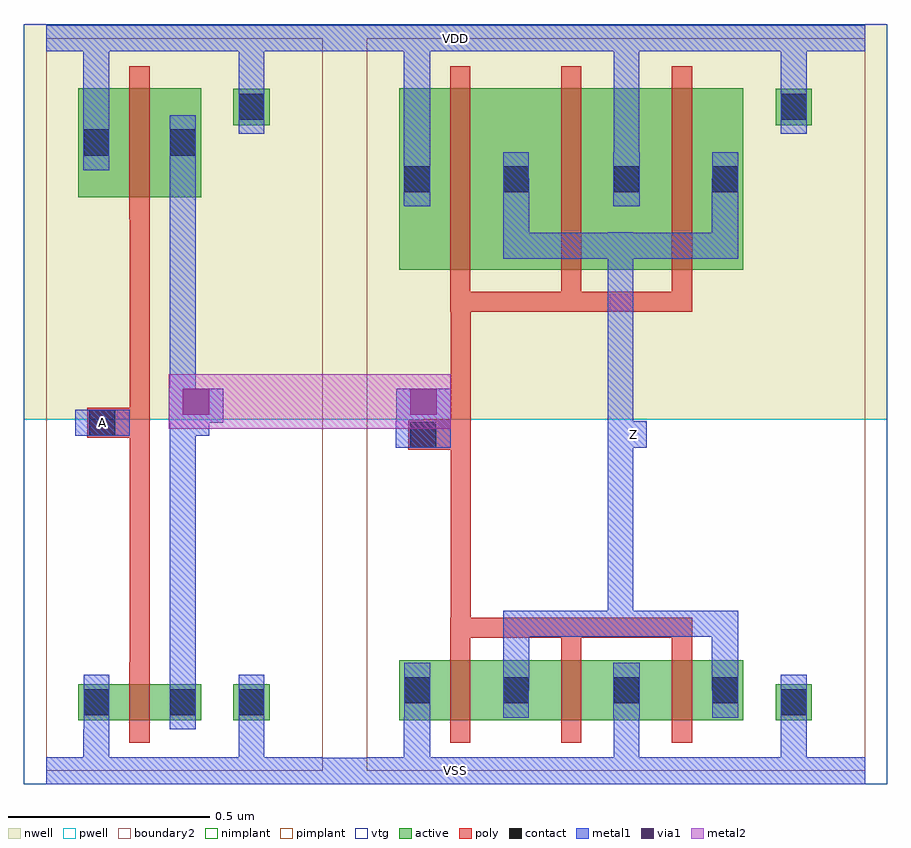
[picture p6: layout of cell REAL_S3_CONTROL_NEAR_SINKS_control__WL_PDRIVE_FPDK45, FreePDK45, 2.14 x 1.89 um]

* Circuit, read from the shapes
.subckt REAL_S3_CONTROL_NEAR_SINKS_control__WL_PDRIVE_FPDK45 A VDD VSS Z
M1 n1 A VSS VSS nfet w=0.09u l=0.05u
M2 Z n1 VSS VSS nfet w=0.15u l=0.05u
M3 VSS n1 Z VSS nfet w=0.15u l=0.049u
M4 Z n1 VSS VSS nfet w=0.15u l=0.051u
M5 n1 A VDD VDD pfet w=0.27u l=0.05u
M6 Z n1 VDD VDD pfet w=0.45u l=0.05u
M7 VDD n1 Z VDD pfet w=0.45u l=0.049u
M8 Z n1 VDD VDD pfet w=0.45u l=0.051u
.ends

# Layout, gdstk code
import gdstk
lib = gdstk.Library(unit=1e-6, precision=1e-09)
def R(c, l, rs):  # rectangles x0, y0, x1, y1
    for r in rs: c.add(gdstk.rectangle(r[:2], r[2:], *l))
active = (1, 0)
pwell = (2, 0)
nwell = (3, 0)
nimplant = (4, 0)
pimplant = (5, 0)
vtg = (6, 0)
poly = (9, 0)
contact = (10, 0)
metal1 = (11, 0)
via1 = (12, 0)
metal2 = (13, 0)
boundary2 = (239, 0)

real_s3_control_near_sin = lib.new_cell('REAL_S3_CONTROL_NEAR_SINKS_control__TEAMB_CLONE__inv1__PINV_NW90_PW270_L50__TRANSMISSION_GATE_NW250_PW500_L50_contact_8')
R(real_s3_control_near_sin, active, [(0,0.022,0.09,0.112), (0,0.022,0.09,0.112), (0,0.022,0.09,0.112)])
R(real_s3_control_near_sin, nwell, [(-0.055,-0.033,0.145,0.168), (-0.055,-0.033,0.145,0.168), (-0.055,-0.033,0.145,0.168)])
R(real_s3_control_near_sin, pimplant, [(0,0.022,0.09,0.112), (0,0.022,0.09,0.112), (0,0.022,0.09,0.112)])
R(real_s3_control_near_sin, contact, [(0.013,0.035,0.077,0.1), (0.013,0.035,0.077,0.1), (0.013,0.035,0.077,0.1)])
R(real_s3_control_near_sin, metal1, [(0.013,0,0.077,0.135), (0.013,0,0.077,0.135), (0.013,0,0.077,0.135)])
R(real_s3_control_near_sin, boundary2, [(-0.055,-0.033,0.145,0.168), (-0.055,-0.033,0.145,0.168), (-0.055,-0.033,0.145,0.168)])

c_real_s3_control_near_sin = lib.new_cell('REAL_S3_CONTROL_NEAR_SINKS_control__TEAMB_CLONE__inv1__PINV_NW90_PW270_L50__PINV_NW180_PW270_L50_pmos_m1_w0_270_sm1_dm1_da_p')
R(c_real_s3_control_near_sin, active, [(0,0,0.305,0.27), (0,0,0.305,0.27), (0,0,0.305,0.27)])
R(c_real_s3_control_near_sin, nwell, [(-0.08,-0.08,0.385,0.35), (-0.08,-0.08,0.385,0.35), (-0.08,-0.08,0.385,0.35)])
R(c_real_s3_control_near_sin, pimplant, [(0,0,0.305,0.27), (0,0,0.305,0.27), (0,0,0.305,0.27)])
R(c_real_s3_control_near_sin, vtg, [(-0.08,-0.08,0.385,0.35), (-0.08,-0.08,0.385,0.35), (-0.08,-0.08,0.385,0.35)])
R(c_real_s3_control_near_sin, poly, [(0.127,-0.055,0.177,0.325), (0.127,-0.055,0.177,0.325), (0.127,-0.055,0.177,0.325), (0.127,-0.055,0.177,0.325), (0.127,-0.055,0.177,0.325), (0.127,-0.055,0.177,0.325)])
R(c_real_s3_control_near_sin, metal1, [(0.013,0.068,0.077,0.203), (0.013,0.068,0.077,0.203), (0.013,0.068,0.077,0.203), (0.227,0.068,0.292,0.203), (0.227,0.068,0.292,0.203), (0.227,0.068,0.292,0.203)])
R(c_real_s3_control_near_sin, boundary2, [(-0.08,-0.08,0.385,0.35), (-0.08,-0.08,0.385,0.35), (-0.08,-0.08,0.385,0.35)])
c_real_s3_control_near_sin.add(gdstk.Reference(real_s3_control_near_sin, (0,0.068)))
c_real_s3_control_near_sin.add(gdstk.Reference(real_s3_control_near_sin, (0.215,0.068)))

c_real_s3_control_near_sin_ = lib.new_cell('REAL_S3_CONTROL_NEAR_SINKS_control__TEAMB_CLONE__inv1__PINV_NW90_PW270_L50__TRANSMISSION_GATE_NW250_PW500_L50_contact_7')
R(c_real_s3_control_near_sin_, active, [(0,0.022,0.09,0.112), (0,0.022,0.09,0.112), (0,0.022,0.09,0.112)])
R(c_real_s3_control_near_sin_, pwell, [(-0.055,-0.033,0.145,0.168), (-0.055,-0.033,0.145,0.168), (-0.055,-0.033,0.145,0.168)])
R(c_real_s3_control_near_sin_, nimplant, [(0,0.022,0.09,0.112), (0,0.022,0.09,0.112), (0,0.022,0.09,0.112)])
R(c_real_s3_control_near_sin_, contact, [(0.013,0.035,0.077,0.1), (0.013,0.035,0.077,0.1), (0.013,0.035,0.077,0.1)])
R(c_real_s3_control_near_sin_, metal1, [(0.013,0,0.077,0.135), (0.013,0,0.077,0.135), (0.013,0,0.077,0.135)])
R(c_real_s3_control_near_sin_, boundary2, [(-0.055,-0.033,0.145,0.168), (-0.055,-0.033,0.145,0.168), (-0.055,-0.033,0.145,0.168)])

c_real_s3_control_near_sin__ = lib.new_cell('REAL_S3_CONTROL_NEAR_SINKS_control__TEAMB_CLONE__inv1__PINV_NW90_PW270_L50__PINV_NW90_PW270_L50_nmos_m1_w0_090_sm1_dm1_da_p')
R(c_real_s3_control_near_sin__, active, [(0,0,0.305,0.09), (0,0,0.305,0.09), (0,0,0.305,0.09)])
R(c_real_s3_control_near_sin__, pwell, [(-0.08,-0.08,0.385,0.17), (-0.08,-0.08,0.385,0.17), (-0.08,-0.08,0.385,0.17)])
R(c_real_s3_control_near_sin__, nimplant, [(0,0,0.305,0.09), (0,0,0.305,0.09), (0,0,0.305,0.09)])
R(c_real_s3_control_near_sin__, vtg, [(-0.08,-0.08,0.385,0.17), (-0.08,-0.08,0.385,0.17), (-0.08,-0.08,0.385,0.17)])
R(c_real_s3_control_near_sin__, poly, [(0.127,-0.055,0.177,0.145), (0.127,-0.055,0.177,0.145), (0.127,-0.055,0.177,0.145), (0.127,-0.055,0.177,0.145), (0.127,-0.055,0.177,0.145), (0.127,-0.055,0.177,0.145)])
R(c_real_s3_control_near_sin__, metal1, [(0.013,-0.022,0.077,0.112), (0.013,-0.022,0.077,0.112), (0.013,-0.022,0.077,0.112), (0.227,-0.022,0.292,0.112), (0.227,-0.022,0.292,0.112), (0.227,-0.022,0.292,0.112)])
R(c_real_s3_control_near_sin__, boundary2, [(-0.08,-0.08,0.385,0.17), (-0.08,-0.08,0.385,0.17), (-0.08,-0.08,0.385,0.17)])
c_real_s3_control_near_sin__.add(gdstk.Reference(c_real_s3_control_near_sin_, (0,-0.022)))
c_real_s3_control_near_sin__.add(gdstk.Reference(c_real_s3_control_near_sin_, (0.215,-0.022)))

c_real_s3_control_near_sin___ = lib.new_cell('REAL_S3_CONTROL_NEAR_SINKS_control__TEAMB_CLONE__inv1__PINV_NW90_PW270_L50__TRANSMISSION_GATE_NW250_PW500_L50_contact_9')
R(c_real_s3_control_near_sin___, active, [(0,0.022,0.09,0.112), (0,0.022,0.09,0.112), (0,0.022,0.09,0.112)])
R(c_real_s3_control_near_sin___, nwell, [(-0.055,-0.033,0.145,0.168), (-0.055,-0.033,0.145,0.168), (-0.055,-0.033,0.145,0.168)])
R(c_real_s3_control_near_sin___, nimplant, [(0,0.022,0.09,0.112), (0,0.022,0.09,0.112), (0,0.022,0.09,0.112)])
R(c_real_s3_control_near_sin___, contact, [(0.013,0.035,0.077,0.1), (0.013,0.035,0.077,0.1), (0.013,0.035,0.077,0.1)])
R(c_real_s3_control_near_sin___, metal1, [(0.013,0,0.077,0.135), (0.013,0,0.077,0.135), (0.013,0,0.077,0.135)])
R(c_real_s3_control_near_sin___, boundary2, [(-0.055,-0.033,0.145,0.168), (-0.055,-0.033,0.145,0.168), (-0.055,-0.033,0.145,0.168)])

c_real_s3_control_near_sin____ = lib.new_cell('REAL_S3_CONTROL_NEAR_SINKS_control__TEAMB_CLONE__inv1__PINV_NW90_PW270_L50__TRANSMISSION_GATE_NW250_PW500_L50_contact_10')
R(c_real_s3_control_near_sin____, active, [(0,0.022,0.09,0.112), (0,0.022,0.09,0.112), (0,0.022,0.09,0.112)])
R(c_real_s3_control_near_sin____, pwell, [(-0.055,-0.033,0.145,0.168), (-0.055,-0.033,0.145,0.168), (-0.055,-0.033,0.145,0.168)])
R(c_real_s3_control_near_sin____, pimplant, [(0,0.022,0.09,0.112), (0,0.022,0.09,0.112), (0,0.022,0.09,0.112)])
R(c_real_s3_control_near_sin____, contact, [(0.013,0.035,0.077,0.1), (0.013,0.035,0.077,0.1), (0.013,0.035,0.077,0.1)])
R(c_real_s3_control_near_sin____, metal1, [(0.013,0,0.077,0.135), (0.013,0,0.077,0.135), (0.013,0,0.077,0.135)])
R(c_real_s3_control_near_sin____, boundary2, [(-0.055,-0.033,0.145,0.168), (-0.055,-0.033,0.145,0.168), (-0.055,-0.033,0.145,0.168)])

c_real_s3_control_near_sin_____ = lib.new_cell('REAL_S3_CONTROL_NEAR_SINKS_control__TEAMB_CLONE__inv1__PINV_NW90_PW270_L50__PINV_NW180_PW270_L50_contact_11')
R(c_real_s3_control_near_sin_____, poly, [(0.03,0,0.105,0.075), (0.03,0,0.105,0.075), (0.03,0,0.105,0.075)])
R(c_real_s3_control_near_sin_____, contact, [(0.035,0.005,0.1,0.07), (0.035,0.005,0.1,0.07), (0.035,0.005,0.1,0.07)])
R(c_real_s3_control_near_sin_____, metal1, [(0,0.005,0.135,0.07), (0,0.005,0.135,0.07), (0,0.005,0.135,0.07)])
R(c_real_s3_control_near_sin_____, boundary2, [(0,0,0.135,0.075), (0,0,0.135,0.075), (0,0,0.135,0.075)])

c_real_s3_control_near_sin______ = lib.new_cell('REAL_S3_CONTROL_NEAR_SINKS_control__TEAMB_CLONE__inv1__PINV_NW90_PW270_L50__PINV_NW90_PW270_L50_core')
R(c_real_s3_control_near_sin______, pwell, [(-0.055,-0.033,0.743,0.873), (-0.055,-0.033,0.743,0.873), (-0.055,-0.033,0.743,0.873)])
R(c_real_s3_control_near_sin______, nwell, [(-0.055,0.873,0.743,1.855), (-0.055,0.873,0.743,1.855), (-0.055,0.873,0.743,1.855)])
R(c_real_s3_control_near_sin______, vtg, [(-0.055,-0.033,0.743,0.873), (-0.055,-0.033,0.743,0.873), (-0.055,-0.033,0.743,0.873), (-0.055,0.873,0.743,1.855), (-0.055,0.873,0.743,1.855), (-0.055,0.873,0.743,1.855)])
R(c_real_s3_control_near_sin______, poly, [(0.208,0.27,0.258,1.37), (0.208,0.27,0.258,1.37), (0.208,0.27,0.258,1.37), (0.14,0.827,0.208,0.902), (0.14,0.827,0.208,0.902), (0.14,0.827,0.208,0.902)])
R(c_real_s3_control_near_sin______, metal1, [(0,-0.033,0.687,0.033), (0,-0.033,0.687,0.033), (0,-0.033,0.687,0.033), (0.092,-0.033,0.157,0.103), (0.092,-0.033,0.157,0.103), (0.092,-0.033,0.157,0.103), (0.478,0,0.542,0.17), (0.478,0,0.542,0.17), (0.478,0,0.542,0.17), (0.307,0.103,0.372,1.627), (0.307,0.103,0.372,1.627), (0.307,0.103,0.372,1.627), (0.072,0.832,0.208,0.897), (0.072,0.832,0.208,0.897), (0.072,0.832,0.208,0.897), (0.34,0.832,0.405,0.897), (0.34,0.832,0.405,0.897), (0.34,0.832,0.405,0.897), (0.092,1.492,0.157,1.852), (0.092,1.492,0.157,1.852), (0.092,1.492,0.157,1.852), (0.478,1.65,0.542,1.82), (0.478,1.65,0.542,1.82), (0.478,1.65,0.542,1.82), (0,1.787,0.687,1.852), (0,1.787,0.687,1.852), (0,1.787,0.687,1.852)])
R(c_real_s3_control_near_sin______, boundary2, [(0,0,0.687,1.82), (0,0,0.687,1.82), (0,0,0.687,1.82), (0,0,0.687,1.82), (0,0,0.687,1.82), (0,0,0.687,1.82)])
c_real_s3_control_near_sin______.add(gdstk.Reference(c_real_s3_control_near_sin, (0.08,1.425)))
c_real_s3_control_near_sin______.add(gdstk.Reference(c_real_s3_control_near_sin__, (0.08,0.125)))
c_real_s3_control_near_sin______.add(gdstk.Reference(c_real_s3_control_near_sin___, (0.465,1.582)))
c_real_s3_control_near_sin______.add(gdstk.Reference(c_real_s3_control_near_sin____, (0.465,0.103)))
c_real_s3_control_near_sin______.add(gdstk.Reference(c_real_s3_control_near_sin_____, (0.072,0.827)))

c_real_s3_control_near_sin_______ = lib.new_cell('REAL_S3_CONTROL_NEAR_SINKS_control__TEAMB_CLONE__inv1__PINV_NW90_PW270_L50__PINV_NW90_PW270_L50')
R(c_real_s3_control_near_sin_______, metal1, [(0,-0.033,0.687,0.033), (0,-0.033,0.687,0.033), (0,-0.033,0.687,0.033), (0.072,0.832,0.208,0.897), (0.072,0.832,0.208,0.897), (0.072,0.832,0.208,0.897), (0.34,0.832,0.405,0.897), (0.34,0.832,0.405,0.897), (0.34,0.832,0.405,0.897), (0,1.787,0.687,1.852), (0,1.787,0.687,1.852), (0,1.787,0.687,1.852)])
R(c_real_s3_control_near_sin_______, boundary2, [(0,0,0.687,1.82), (0,0,0.687,1.82), (0,0,0.687,1.82)])
c_real_s3_control_near_sin_______.add(gdstk.Reference(c_real_s3_control_near_sin______, (0,0)))

c_real_s3_control_near_sin________ = lib.new_cell('REAL_S3_CONTROL_NEAR_SINKS_control__TEAMB_CLONE__inv2__PINV_NW450_PW1350_L50__TRANSMISSION_GATE_NW250_PW500_L50_contact_8')
R(c_real_s3_control_near_sin________, active, [(0,0.022,0.09,0.112)])
R(c_real_s3_control_near_sin________, nwell, [(-0.055,-0.033,0.145,0.168)])
R(c_real_s3_control_near_sin________, pimplant, [(0,0.022,0.09,0.112)])
R(c_real_s3_control_near_sin________, contact, [(0.013,0.035,0.077,0.1)])
R(c_real_s3_control_near_sin________, metal1, [(0.013,0,0.077,0.135)])
R(c_real_s3_control_near_sin________, boundary2, [(-0.055,-0.033,0.145,0.168)])

c_real_s3_control_near_sin_________ = lib.new_cell('REAL_S3_CONTROL_NEAR_SINKS_control__TEAMB_CLONE__inv2__PINV_NW450_PW1350_L50__PINV_NW450_PW1350_L50_pmos_m3_w0_450_sm1_dm1_da_p')
R(c_real_s3_control_near_sin_________, active, [(0,0,0.855,0.45)])
R(c_real_s3_control_near_sin_________, nwell, [(-0.08,-0.08,0.935,0.53)])
R(c_real_s3_control_near_sin_________, pimplant, [(0,0,0.855,0.45)])
R(c_real_s3_control_near_sin_________, vtg, [(-0.08,-0.08,0.935,0.53)])
R(c_real_s3_control_near_sin_________, poly, [(0.127,-0.105,0.728,-0.055), (0.127,-0.055,0.177,0.505), (0.403,-0.055,0.452,0.505), (0.677,-0.055,0.728,0.505)])
R(c_real_s3_control_near_sin_________, metal1, [(0.258,0.027,0.842,0.092), (0.258,0.06,0.323,0.225), (0.777,0.06,0.842,0.225), (0.013,0.157,0.077,0.292), (0.532,0.157,0.598,0.292)])
R(c_real_s3_control_near_sin_________, boundary2, [(-0.08,-0.105,0.935,0.53)])
c_real_s3_control_near_sin_________.add(gdstk.Reference(c_real_s3_control_near_sin________, (0,0.157)))
c_real_s3_control_near_sin_________.add(gdstk.Reference(c_real_s3_control_near_sin________, (0.245,0.157)))
c_real_s3_control_near_sin_________.add(gdstk.Reference(c_real_s3_control_near_sin________, (0.52,0.157)))
c_real_s3_control_near_sin_________.add(gdstk.Reference(c_real_s3_control_near_sin________, (0.765,0.157)))

c_real_s3_control_near_sin__________ = lib.new_cell('REAL_S3_CONTROL_NEAR_SINKS_control__TEAMB_CLONE__inv2__PINV_NW450_PW1350_L50__TRANSMISSION_GATE_NW250_PW500_L50_contact_7')
R(c_real_s3_control_near_sin__________, active, [(0,0.022,0.09,0.112)])
R(c_real_s3_control_near_sin__________, pwell, [(-0.055,-0.033,0.145,0.168)])
R(c_real_s3_control_near_sin__________, nimplant, [(0,0.022,0.09,0.112)])
R(c_real_s3_control_near_sin__________, contact, [(0.013,0.035,0.077,0.1)])
R(c_real_s3_control_near_sin__________, metal1, [(0.013,0,0.077,0.135)])
R(c_real_s3_control_near_sin__________, boundary2, [(-0.055,-0.033,0.145,0.168)])

c_real_s3_control_near_sin___________ = lib.new_cell('REAL_S3_CONTROL_NEAR_SINKS_control__TEAMB_CLONE__inv2__PINV_NW450_PW1350_L50__PINV_NW450_PW1350_L50_nmos_m3_w0_150_sm1_dm1_da_p')
R(c_real_s3_control_near_sin___________, active, [(0,0,0.855,0.15)])
R(c_real_s3_control_near_sin___________, pwell, [(-0.08,-0.08,0.935,0.23)])
R(c_real_s3_control_near_sin___________, nimplant, [(0,0,0.855,0.15)])
R(c_real_s3_control_near_sin___________, vtg, [(-0.08,-0.08,0.935,0.23)])
R(c_real_s3_control_near_sin___________, poly, [(0.127,-0.055,0.177,0.205), (0.403,-0.055,0.452,0.205), (0.677,-0.055,0.728,0.205), (0.127,0.205,0.728,0.255)])
R(c_real_s3_control_near_sin___________, metal1, [(0.013,0.007,0.077,0.143), (0.532,0.007,0.598,0.143), (0.258,0.075,0.323,0.24), (0.777,0.075,0.842,0.24), (0.258,0.208,0.842,0.273)])
R(c_real_s3_control_near_sin___________, boundary2, [(-0.08,-0.08,0.935,0.273)])
c_real_s3_control_near_sin___________.add(gdstk.Reference(c_real_s3_control_near_sin__________, (0,0.007)))
c_real_s3_control_near_sin___________.add(gdstk.Reference(c_real_s3_control_near_sin__________, (0.245,0.007)))
c_real_s3_control_near_sin___________.add(gdstk.Reference(c_real_s3_control_near_sin__________, (0.52,0.007)))
c_real_s3_control_near_sin___________.add(gdstk.Reference(c_real_s3_control_near_sin__________, (0.765,0.007)))

c_real_s3_control_near_sin____________ = lib.new_cell('REAL_S3_CONTROL_NEAR_SINKS_control__TEAMB_CLONE__inv2__PINV_NW450_PW1350_L50__TRANSMISSION_GATE_NW250_PW500_L50_contact_9')
R(c_real_s3_control_near_sin____________, active, [(0,0.022,0.09,0.112)])
R(c_real_s3_control_near_sin____________, nwell, [(-0.055,-0.033,0.145,0.168)])
R(c_real_s3_control_near_sin____________, nimplant, [(0,0.022,0.09,0.112)])
R(c_real_s3_control_near_sin____________, contact, [(0.013,0.035,0.077,0.1)])
R(c_real_s3_control_near_sin____________, metal1, [(0.013,0,0.077,0.135)])
R(c_real_s3_control_near_sin____________, boundary2, [(-0.055,-0.033,0.145,0.168)])

c_real_s3_control_near_sin_____________ = lib.new_cell('REAL_S3_CONTROL_NEAR_SINKS_control__TEAMB_CLONE__inv2__PINV_NW450_PW1350_L50__TRANSMISSION_GATE_NW250_PW500_L50_contact_10')
R(c_real_s3_control_near_sin_____________, active, [(0,0.022,0.09,0.112)])
R(c_real_s3_control_near_sin_____________, pwell, [(-0.055,-0.033,0.145,0.168)])
R(c_real_s3_control_near_sin_____________, pimplant, [(0,0.022,0.09,0.112)])
R(c_real_s3_control_near_sin_____________, contact, [(0.013,0.035,0.077,0.1)])
R(c_real_s3_control_near_sin_____________, metal1, [(0.013,0,0.077,0.135)])
R(c_real_s3_control_near_sin_____________, boundary2, [(-0.055,-0.033,0.145,0.168)])

c_real_s3_control_near_sin______________ = lib.new_cell('REAL_S3_CONTROL_NEAR_SINKS_control__TEAMB_CLONE__inv2__PINV_NW450_PW1350_L50__PINV_NW180_PW270_L50_contact_11')
R(c_real_s3_control_near_sin______________, poly, [(0.03,0,0.105,0.075)])
R(c_real_s3_control_near_sin______________, contact, [(0.035,0.005,0.1,0.07)])
R(c_real_s3_control_near_sin______________, metal1, [(0,0.005,0.135,0.07)])
R(c_real_s3_control_near_sin______________, boundary2, [(0,0,0.135,0.075)])

c_real_s3_control_near_sin_______________ = lib.new_cell('REAL_S3_CONTROL_NEAR_SINKS_control__TEAMB_CLONE__inv2__PINV_NW450_PW1350_L50__PINV_NW450_PW1350_L50_core')
R(c_real_s3_control_near_sin_______________, pwell, [(-0.055,-0.033,1.292,0.873)])
R(c_real_s3_control_near_sin_______________, nwell, [(-0.055,0.873,1.292,1.855)])
R(c_real_s3_control_near_sin_______________, vtg, [(-0.055,-0.033,1.292,0.873), (-0.055,0.873,1.292,1.855)])
R(c_real_s3_control_near_sin_______________, poly, [(0.208,0.38,0.258,1.14), (0.14,0.797,0.208,0.873)])
R(c_real_s3_control_near_sin_______________, metal1, [(0,-0.033,1.238,0.033), (0.092,-0.033,0.157,0.133), (0.613,-0.033,0.677,0.133), (1.028,0,1.093,0.17), (0.598,0.333,0.662,1.338), (0.072,0.802,0.208,0.868), (0.63,0.802,0.695,0.868), (0.092,1.403,0.157,1.852), (0.613,1.403,0.677,1.852), (1.028,1.65,1.093,1.82), (0,1.787,1.238,1.852)])
R(c_real_s3_control_near_sin_______________, boundary2, [(0,0,1.238,1.82), (0,0,1.238,1.82)])
c_real_s3_control_near_sin_______________.add(gdstk.Reference(c_real_s3_control_near_sin_________, (0.08,1.245)))
c_real_s3_control_near_sin_______________.add(gdstk.Reference(c_real_s3_control_near_sin___________, (0.08,0.125)))
c_real_s3_control_near_sin_______________.add(gdstk.Reference(c_real_s3_control_near_sin____________, (1.015,1.582)))
c_real_s3_control_near_sin_______________.add(gdstk.Reference(c_real_s3_control_near_sin_____________, (1.015,0.103)))
c_real_s3_control_near_sin_______________.add(gdstk.Reference(c_real_s3_control_near_sin______________, (0.072,0.797)))

c_real_s3_control_near_sin________________ = lib.new_cell('REAL_S3_CONTROL_NEAR_SINKS_control__TEAMB_CLONE__inv2__PINV_NW450_PW1350_L50__PINV_NW450_PW1350_L50')
R(c_real_s3_control_near_sin________________, metal1, [(0,-0.033,1.238,0.033), (0.072,0.802,0.208,0.868), (0.63,0.802,0.695,0.868), (0,1.787,1.238,1.852)])
R(c_real_s3_control_near_sin________________, boundary2, [(0,0,1.238,1.82)])
c_real_s3_control_near_sin________________.add(gdstk.Reference(c_real_s3_control_near_sin_______________, (0,0)))

c_real_s3_control_near_sin_________________ = lib.new_cell('REAL_S3_CONTROL_NEAR_SINKS_control__WL_PDRIVE_FPDK45')
R(c_real_s3_control_near_sin_________________, metal1, [(0.055,0,2.09,0.065), (0.925,0.868,1.06,0.982), (0.36,0.897,0.495,0.982), (0.055,1.82,2.09,1.885)])
R(c_real_s3_control_near_sin_________________, via1, [(0.395,0.917,0.46,0.982), (0.96,0.917,1.025,0.982)])
R(c_real_s3_control_near_sin_________________, metal2, [(0.36,0.883,0.495,1.018), (0.427,0.883,0.992,1.018), (0.925,0.883,1.06,1.018)])
c_real_s3_control_near_sin_________________.add(gdstk.Reference(c_real_s3_control_near_sin_______, (0.055,0.033)))
c_real_s3_control_near_sin_________________.add(gdstk.Reference(c_real_s3_control_near_sin________________, (0.852,0.033)))
c_real_s3_control_near_sin_________________.add(gdstk.Label('VDD', (1.073,1.852), layer=11, texttype=2))
c_real_s3_control_near_sin_________________.add(gdstk.Label('VSS', (1.073,0.033), layer=11, texttype=2))
c_real_s3_control_near_sin_________________.add(gdstk.Label('A', (0.195,0.897), layer=11, texttype=2))
c_real_s3_control_near_sin_________________.add(gdstk.Label('Z', (1.515,0.868), layer=11, texttype=2))

lib.write_gds('REAL_S3_CONTROL_NEAR_SINKS_control__WL_PDRIVE_FPDK45.gds')
